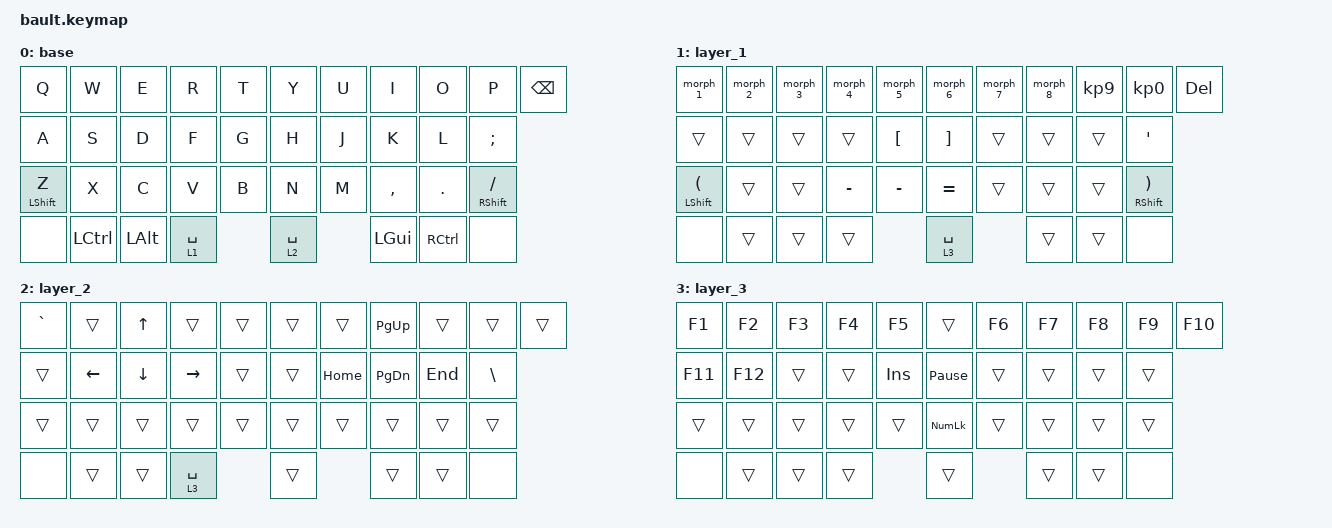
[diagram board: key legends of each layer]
#include <behaviors.dtsi>
#include <dt-bindings/zmk/keys.h>

/ {
    behaviors {
        morph_1: morph_1 {
            compatible = "zmk,behavior-mod-morph";
            label = "!";
            bindings = <&kp KP_N1>, <&kp EXCL>;

            #binding-cells = <0>;
            mods = <(MOD_LSFT|MOD_RSFT)>;
        };

        morph_2: morph_2 {
            compatible = "zmk,behavior-mod-morph";
            label = "@";
            bindings = <&kp KP_N2>, <&kp AT>;

            #binding-cells = <0>;
            mods = <(MOD_LSFT|MOD_RSFT)>;
        };

        morph_3: morph_3 {
            compatible = "zmk,behavior-mod-morph";
            label = "#";
            bindings = <&kp KP_N3>, <&kp HASH>;

            #binding-cells = <0>;
            mods = <(MOD_LSFT|MOD_RSFT)>;
        };

        morph_4: morph_4 {
            compatible = "zmk,behavior-mod-morph";
            label = "$";
            bindings = <&kp KP_N4>, <&kp DOLLAR>;

            #binding-cells = <0>;
            mods = <(MOD_LSFT|MOD_RSFT)>;
        };

        morph_5: morph_5 {
            compatible = "zmk,behavior-mod-morph";
            label = "%";
            bindings = <&kp KP_N5>, <&kp PERCENT>;

            #binding-cells = <0>;
            mods = <(MOD_LSFT|MOD_RSFT)>;
        };

        morph_6: morph_6 {
            compatible = "zmk,behavior-mod-morph";
            label = "^";
            bindings = <&kp KP_N6>, <&kp CARET>;

            #binding-cells = <0>;
            mods = <(MOD_LSFT|MOD_RSFT)>;
        };

        morph_7: morph_7 {
            compatible = "zmk,behavior-mod-morph";
            label = "&";
            bindings = <&kp KP_N7>, <&kp AMPS>;

            #binding-cells = <0>;
            mods = <(MOD_LSFT|MOD_RSFT)>;
        };

        morph_8: morph_8 {
            compatible = "zmk,behavior-mod-morph";
            label = "*";
            bindings = <&kp KP_N8>, <&kp STAR>;

            #binding-cells = <0>;
            mods = <(MOD_LSFT|MOD_RSFT)>;
        };
    };

    combos {
        compatible = "zmk,combos";

        combo_esc {
            timeout-ms = <20>;
            bindings = <&kp ESC>;
            key-positions = <1 0>;
            layers = <0>;
        };

        combo_enter {
            timeout-ms = <20>;
            bindings = <&kp ENTER>;
            key-positions = <20 19>;
            layers = <0>;
        };

        combo_backspace {
            timeout-ms = <20>;
            bindings = <&kp BKSP>;
            key-positions = <10 9>;
            layers = <0>;
        };

        combo_tab {
            timeout-ms = <20>;
            bindings = <&kp TAB>;
            key-positions = <12 11>;
            layers = <0>;
        };

        combo_delete {
            timeout-ms = <20>;
            bindings = <&kp DEL>;
            key-positions = <10 9>;
            layers = <1>;
        };

        combo_caps {
            timeout-ms = <20>;
            bindings = <&kp CAPS>;
            key-positions = <21 30>;
            layers = <3>;
        };
    };

    keymap {
        compatible = "zmk,keymap";

        base {
            bindings = <
&kp Q        &kp W      &kp E     &kp R        &kp T  &kp Y        &kp U  &kp I      &kp O       &kp P            &kp BSPC
&kp A        &kp S      &kp D     &kp F        &kp G  &kp H        &kp J  &kp K      &kp L       &kp SEMICOLON
&mt LSHFT Z  &kp X      &kp C     &kp V        &kp B  &kp N        &kp M  &kp COMMA  &kp PERIOD  &mt RSHFT SLASH
&none        &kp LCTRL  &kp LALT  &lt 1 SPACE         &lt 2 SPACE         &kp LGUI   &kp RCTRL   &none
            >;
        };

        layer_1 {
            bindings = <
&morph_1        &morph_2  &morph_3  &morph_4   &morph_5   &morph_6     &morph_7  &morph_8  &kp KP_N9  &kp KP_N0       &kp DEL
&trans          &trans    &trans    &trans     &kp LBKT   &kp RBKT     &trans    &trans    &trans     &kp APOS
&mt LSHFT LPAR  &trans    &trans    &kp MINUS  &kp MINUS  &kp EQUAL    &trans    &trans    &trans     &mt RSHFT RPAR
&none           &trans    &trans    &trans                &lt 3 SPACE            &trans    &trans     &none
            >;
        };

        layer_2 {
            bindings = <
&kp GRAVE  &trans    &kp UP    &trans       &trans  &trans  &trans    &kp PG_UP  &trans   &trans    &trans
&trans     &kp LEFT  &kp DOWN  &kp RIGHT    &trans  &trans  &kp HOME  &kp PG_DN  &kp END  &kp BSLH
&trans     &trans    &trans    &trans       &trans  &trans  &trans    &trans     &trans   &trans
&none      &trans    &trans    &lt 3 SPACE          &trans            &trans     &trans   &none
            >;
        };

        layer_3 {
            bindings = <
&kp F1   &kp F2   &kp F3  &kp F4  &kp F5   &trans           &kp F6  &kp F7  &kp F8  &kp F9  &kp F10
&kp F11  &kp F12  &trans  &trans  &kp INS  &kp PAUSE_BREAK  &trans  &trans  &trans  &trans
&trans   &trans   &trans  &trans  &trans   &kp KP_NUM       &trans  &trans  &trans  &trans
&none    &trans   &trans  &trans           &trans                   &trans  &trans  &none
            >;
        };
    };
};
